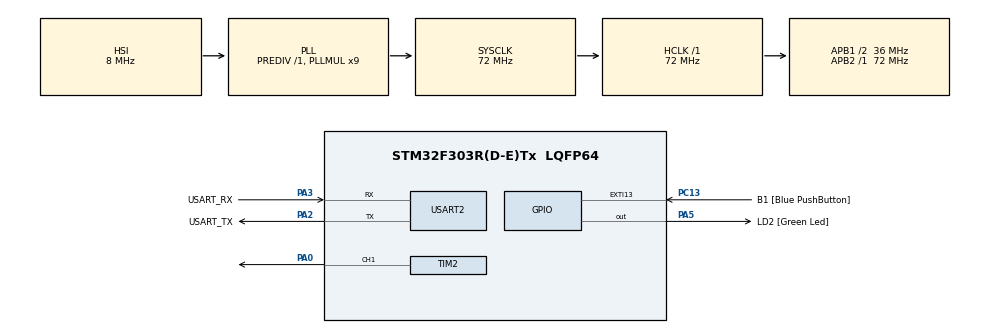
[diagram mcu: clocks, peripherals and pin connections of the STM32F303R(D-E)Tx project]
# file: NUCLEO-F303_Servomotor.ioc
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Mcu.Family=STM32F3
Mcu.Name=STM32F303R(D-E)Tx
Mcu.Package=LQFP64
NVIC.PriorityGroup=NVIC_PRIORITYGROUP_0
NVIC.TIM3_IRQn=true\:0\:0\:false\:false\:true\:true\:true\:true
PA0.Signal=S_TIM2_CH1_ETR
PA13.GPIO_Label=TMS
PA13.Mode=Serial_Wire
PA13.Signal=SYS_JTMS-SWDIO
PA14.GPIO_Label=TCK
PA14.Mode=Serial_Wire
PA14.Signal=SYS_JTCK-SWCLK
PA2.GPIO_Label=USART_TX
PA2.GPIO_Mode=GPIO_MODE_AF_PP
PA2.GPIO_PuPd=GPIO_NOPULL
PA2.GPIO_Speed=GPIO_SPEED_FREQ_LOW
PA2.Mode=Asynchronous
PA2.Signal=USART2_TX
PA3.GPIO_Label=USART_RX
PA3.GPIO_Mode=GPIO_MODE_AF_PP
PA3.GPIO_PuPd=GPIO_NOPULL
PA3.GPIO_Speed=GPIO_SPEED_FREQ_LOW
PA3.Mode=Asynchronous
PA3.Signal=USART2_RX
PA5.GPIO_Label=LD2 [Green Led]
PA5.GPIO_Mode=GPIO_MODE_OUTPUT_PP
PA5.GPIO_PuPd=GPIO_NOPULL
PA5.GPIO_Speed=GPIO_SPEED_FREQ_LOW
PA5.Signal=GPIO_Output
PB3.GPIO_Label=SWO
PB3.Signal=SYS_JTDO-TRACESWO
PC13.GPIO_Label=B1 [Blue PushButton]
PC13.GPIO_ModeDefaultEXTI=GPIO_MODE_IT_FALLING
PC13.Signal=GPXTI13
PC14-OSC32_IN.Mode=LSE-External-Oscillator
PC14-OSC32_IN.Signal=RCC_OSC32_IN
PC15-OSC32_OUT.Mode=LSE-External-Oscillator
PC15-OSC32_OUT.Signal=RCC_OSC32_OUT
PF0-OSC_IN.Mode=HSE-External-Clock-Source
PF0-OSC_IN.Signal=RCC_OSC_IN
PF1-OSC_OUT.Signal=RCC_OSC_OUT
ProjectManager.HeapSize=0x200
ProjectManager.StackSize=0x400
ProjectManager.TargetToolchain=CMake
RCC.AHBFreq_Value=72000000
RCC.APB1CLKDivider=RCC_HCLK_DIV2
RCC.APB1Freq_Value=36000000
RCC.APB1TimFreq_Value=72000000
RCC.APB2Freq_Value=72000000
RCC.APB2TimFreq_Value=72000000
RCC.CortexFreq_Value=72000000
RCC.HCLKFreq_Value=72000000
RCC.HSE_VALUE=8000000
RCC.HSI_VALUE=8000000
RCC.PLLM=8
RCC.PLLMUL=RCC_PLL_MUL9
RCC.PLLN=336
RCC.PLLP=RCC_PLLP_DIV4
RCC.PLLQ=7
RCC.RCC_PLLsource_Clock_Source_FROM_HSE=RCC_HSE_PREDIV_DIV2
RCC.SYSCLKFreq_VALUE=72000000
RCC.SYSCLKSourceVirtual=RCC_SYSCLKSOURCE_PLLCLK
RCC.USBFreq_Value=72000000
SH.S_TIM2_CH1_ETR.0=TIM2_CH1,PWM Generation1 CH1
TIM2.Channel-PWM\ Generation1\ CH1=TIM_CHANNEL_1
TIM2.Period=20000-1
TIM2.Prescaler=72-1
TIM2.Pulse-PWM\ Generation1\ CH1=1500
TIM3.Period=10000-1
TIM3.Prescaler=72-1
USART2.VirtualMode-Asynchronous=VM_ASYNC
VP_TIM2_VS_ClockSourceINT.Mode=Internal
VP_TIM3_VS_ClockSourceINT.Mode=Internal
board=NUCLEO-F303RE

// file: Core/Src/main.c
/* USER CODE BEGIN Header */
/**
  ******************************************************************************
  * @file           : main.c
  * @brief          : Main program body
  ******************************************************************************
  * @attention
  *
  * Copyright (c) 2026 STMicroelectronics.
  * All rights reserved.
  *
  * This software is licensed under terms that can be found in the LICENSE file
  * in the root directory of this software component.
  * If no LICENSE file comes with this software, it is provided AS-IS.
  *
  ******************************************************************************
  */
/* USER CODE END Header */
#include "main.h"

/* USER CODE BEGIN Includes */
#include "Servomotor.h"
/* USER CODE END Includes */

/* USER CODE BEGIN PTD */
typedef enum
{
    STATE_SWEEP_UP,
    STATE_WAIT_AT_MAX,
    STATE_SWEEP_DOWM,
    STATE_WAIT_AT_MIN
} SequenceState;
/* USER CODE END PTD */

TIM_HandleTypeDef htim2;
TIM_HandleTypeDef htim3;

UART_HandleTypeDef huart2;

/* USER CODE BEGIN PV */
Servo_HandleTypeDef servo;

const uint16_t waitTime = 2000;

/* USER CODE END PV */

void SystemClock_Config(void);
static void MX_GPIO_Init(void);
static void MX_TIM2_Init(void);
static void MX_TIM3_Init(void);
static void MX_USART2_UART_Init(void);
/* USER CODE BEGIN PFP */
void Process_Servo_FSM(void);
/* USER CODE END PFP */

int main(void)
{

  /* MCU Configuration--------------------------------------------------------*/

  /* Reset of all peripherals, Initializes the Flash interface and the Systick. */
  HAL_Init();

  /* Configure the system clock */
  SystemClock_Config();

  /* Initialize all configured peripherals */
  MX_GPIO_Init();
  MX_TIM2_Init();
  MX_TIM3_Init();
  MX_USART2_UART_Init();
  /* USER CODE BEGIN 2 */
  HAL_TIM_Base_Start_IT(&htim3);
  Servo_Init(&servo, &htim2, TIM_CHANNEL_1, 550, 2300);
  /* USER CODE END 2 */

  /* Infinite loop */
  /* USER CODE BEGIN WHILE */
  while (1)
  {

    Process_Servo_FSM();

    /* USER CODE END WHILE */

  }
}

void SystemClock_Config(void)
{
  RCC_OscInitTypeDef RCC_OscInitStruct = {0};
  RCC_ClkInitTypeDef RCC_ClkInitStruct = {0};
  RCC_PeriphCLKInitTypeDef PeriphClkInit = {0};

  /** Initializes the RCC Oscillators according to the specified parameters
  * in the RCC_OscInitTypeDef structure.
  */
  RCC_OscInitStruct.OscillatorType = RCC_OSCILLATORTYPE_HSI;
  RCC_OscInitStruct.HSIState = RCC_HSI_ON;
  RCC_OscInitStruct.HSICalibrationValue = RCC_HSICALIBRATION_DEFAULT;
  RCC_OscInitStruct.PLL.PLLState = RCC_PLL_ON;
  RCC_OscInitStruct.PLL.PLLSource = RCC_PLLSOURCE_HSI;
  RCC_OscInitStruct.PLL.PLLMUL = RCC_PLL_MUL9;
  RCC_OscInitStruct.PLL.PREDIV = RCC_PREDIV_DIV1;
  if (HAL_RCC_OscConfig(&RCC_OscInitStruct) != HAL_OK)
  {
    Error_Handler();
  }

  /** Initializes the CPU, AHB and APB buses clocks
  */
  RCC_ClkInitStruct.ClockType = RCC_CLOCKTYPE_HCLK|RCC_CLOCKTYPE_SYSCLK
                              |RCC_CLOCKTYPE_PCLK1|RCC_CLOCKTYPE_PCLK2;
  RCC_ClkInitStruct.SYSCLKSource = RCC_SYSCLKSOURCE_PLLCLK;
  RCC_ClkInitStruct.AHBCLKDivider = RCC_SYSCLK_DIV1;
  RCC_ClkInitStruct.APB1CLKDivider = RCC_HCLK_DIV2;
  RCC_ClkInitStruct.APB2CLKDivider = RCC_HCLK_DIV1;

  if (HAL_RCC_ClockConfig(&RCC_ClkInitStruct, FLASH_LATENCY_2) != HAL_OK)
  {
    Error_Handler();
  }
  PeriphClkInit.PeriphClockSelection = RCC_PERIPHCLK_USART2|RCC_PERIPHCLK_TIM2
                              |RCC_PERIPHCLK_TIM34;
  PeriphClkInit.Usart2ClockSelection = RCC_USART2CLKSOURCE_PCLK1;
  PeriphClkInit.Tim2ClockSelection = RCC_TIM2CLK_HCLK;
  PeriphClkInit.Tim34ClockSelection = RCC_TIM34CLK_HCLK;
  if (HAL_RCCEx_PeriphCLKConfig(&PeriphClkInit) != HAL_OK)
  {
    Error_Handler();
  }
}

static void MX_TIM2_Init(void)
{

  TIM_ClockConfigTypeDef sClockSourceConfig = {0};
  TIM_MasterConfigTypeDef sMasterConfig = {0};
  TIM_OC_InitTypeDef sConfigOC = {0};

  htim2.Instance = TIM2;
  htim2.Init.Prescaler = 72-1;
  htim2.Init.CounterMode = TIM_COUNTERMODE_UP;
  htim2.Init.Period = 20000-1;
  htim2.Init.ClockDivision = TIM_CLOCKDIVISION_DIV1;
  htim2.Init.AutoReloadPreload = TIM_AUTORELOAD_PRELOAD_DISABLE;
  if (HAL_TIM_Base_Init(&htim2) != HAL_OK)
  {
    Error_Handler();
  }
  sClockSourceConfig.ClockSource = TIM_CLOCKSOURCE_INTERNAL;
  if (HAL_TIM_ConfigClockSource(&htim2, &sClockSourceConfig) != HAL_OK)
  {
    Error_Handler();
  }
  if (HAL_TIM_PWM_Init(&htim2) != HAL_OK)
  {
    Error_Handler();
  }
  sMasterConfig.MasterOutputTrigger = TIM_TRGO_RESET;
  sMasterConfig.MasterSlaveMode = TIM_MASTERSLAVEMODE_DISABLE;
  if (HAL_TIMEx_MasterConfigSynchronization(&htim2, &sMasterConfig) != HAL_OK)
  {
    Error_Handler();
  }
  sConfigOC.OCMode = TIM_OCMODE_PWM1;
  sConfigOC.Pulse = 1500;
  sConfigOC.OCPolarity = TIM_OCPOLARITY_HIGH;
  sConfigOC.OCFastMode = TIM_OCFAST_DISABLE;
  if (HAL_TIM_PWM_ConfigChannel(&htim2, &sConfigOC, TIM_CHANNEL_1) != HAL_OK)
  {
    Error_Handler();
  }
  HAL_TIM_MspPostInit(&htim2);

}

static void MX_TIM3_Init(void)
{

  TIM_ClockConfigTypeDef sClockSourceConfig = {0};
  TIM_MasterConfigTypeDef sMasterConfig = {0};

  htim3.Instance = TIM3;
  htim3.Init.Prescaler = 72-1;
  htim3.Init.CounterMode = TIM_COUNTERMODE_UP;
  htim3.Init.Period = 10000-1;
  htim3.Init.ClockDivision = TIM_CLOCKDIVISION_DIV1;
  htim3.Init.AutoReloadPreload = TIM_AUTORELOAD_PRELOAD_DISABLE;
  if (HAL_TIM_Base_Init(&htim3) != HAL_OK)
  {
    Error_Handler();
  }
  sClockSourceConfig.ClockSource = TIM_CLOCKSOURCE_INTERNAL;
  if (HAL_TIM_ConfigClockSource(&htim3, &sClockSourceConfig) != HAL_OK)
  {
    Error_Handler();
  }
  sMasterConfig.MasterOutputTrigger = TIM_TRGO_RESET;
  sMasterConfig.MasterSlaveMode = TIM_MASTERSLAVEMODE_DISABLE;
  if (HAL_TIMEx_MasterConfigSynchronization(&htim3, &sMasterConfig) != HAL_OK)
  {
    Error_Handler();
  }

}

static void MX_USART2_UART_Init(void)
{

  huart2.Instance = USART2;
  huart2.Init.BaudRate = 38400;
  huart2.Init.WordLength = UART_WORDLENGTH_8B;
  huart2.Init.StopBits = UART_STOPBITS_1;
  huart2.Init.Parity = UART_PARITY_NONE;
  huart2.Init.Mode = UART_MODE_TX_RX;
  huart2.Init.HwFlowCtl = UART_HWCONTROL_NONE;
  huart2.Init.OverSampling = UART_OVERSAMPLING_16;
  huart2.Init.OneBitSampling = UART_ONE_BIT_SAMPLE_DISABLE;
  huart2.AdvancedInit.AdvFeatureInit = UART_ADVFEATURE_NO_INIT;
  if (HAL_UART_Init(&huart2) != HAL_OK)
  {
    Error_Handler();
  }

}

static void MX_GPIO_Init(void)
{
  GPIO_InitTypeDef GPIO_InitStruct = {0};

  /* GPIO Ports Clock Enable */
  __HAL_RCC_GPIOC_CLK_ENABLE();
  __HAL_RCC_GPIOF_CLK_ENABLE();
  __HAL_RCC_GPIOA_CLK_ENABLE();
  __HAL_RCC_GPIOB_CLK_ENABLE();

  /*Configure GPIO pin Output Level */
  HAL_GPIO_WritePin(LD2_GPIO_Port, LD2_Pin, GPIO_PIN_RESET);

  /*Configure GPIO pin : B1_Pin */
  GPIO_InitStruct.Pin = B1_Pin;
  GPIO_InitStruct.Mode = GPIO_MODE_IT_FALLING;
  GPIO_InitStruct.Pull = GPIO_NOPULL;
  HAL_GPIO_Init(B1_GPIO_Port, &GPIO_InitStruct);

  /*Configure GPIO pin : LD2_Pin */
  GPIO_InitStruct.Pin = LD2_Pin;
  GPIO_InitStruct.Mode = GPIO_MODE_OUTPUT_PP;
  GPIO_InitStruct.Pull = GPIO_NOPULL;
  GPIO_InitStruct.Speed = GPIO_SPEED_FREQ_LOW;
  HAL_GPIO_Init(LD2_GPIO_Port, &GPIO_InitStruct);

}

/* USER CODE BEGIN 4 */
void Process_Servo_FSM(void)
{
    static SequenceState state = STATE_SWEEP_UP;
    static uint32_t  lastTick = 0;
    static int16_t sweepAngle = 0;

    uint32_t currentTick = HAL_GetTick();

    switch(state)
    {
        case STATE_SWEEP_UP:
            if ((currentTick - lastTick) >= 30)
            {
                lastTick = currentTick;
                Servo_WriteAngle(&servo, (uint8_t)sweepAngle);

                sweepAngle += 10;
                if (sweepAngle > 180)
                {
                    sweepAngle = 180;
                    Servo_WriteAngle(&servo, 180);
                    state = STATE_WAIT_AT_MAX;
                }
            }
            break;

        case STATE_WAIT_AT_MAX:
            // Espera activa no bloqueante
            if ((currentTick - lastTick) >= waitTime)
            {
                lastTick = currentTick; // Inicializar tiempo para el primer paso de bajada
                state = STATE_SWEEP_DOWM;
            }
            break;

        case STATE_SWEEP_DOWM:
            if ((currentTick - lastTick) >= 30)
            {
                lastTick = currentTick;
                Servo_WriteAngle(&servo, (uint8_t)sweepAngle);
                sweepAngle -= 10;

                if (sweepAngle < 0)
                {
                    sweepAngle = 0;
                    Servo_WriteAngle(&servo, 0);
                    state = STATE_WAIT_AT_MIN;
                }
            }
            break;

        case STATE_WAIT_AT_MIN:
            // Espera activa no bloqueante
            if ((currentTick - lastTick) >= waitTime)
            {
                lastTick = currentTick; // Inicializar tiempo para el primer paso de subida
                state = STATE_SWEEP_UP;
            }
            break;
    }
}
/* USER CODE END 4 */

void Error_Handler(void)
{
  __disable_irq();
  while (1)
  {
  }
}
